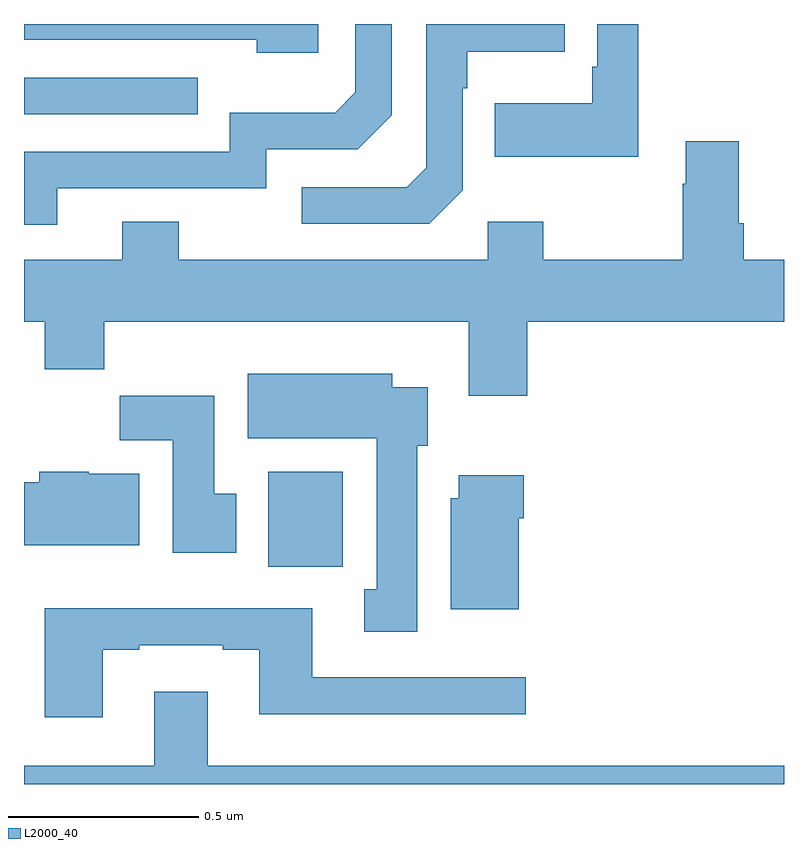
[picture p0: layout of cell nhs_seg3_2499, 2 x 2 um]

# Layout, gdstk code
import gdstk
lib = gdstk.Library(unit=1e-6, precision=1e-09)
def R(c, l, rs):  # rectangles x0, y0, x1, y1
    for r in rs: c.add(gdstk.rectangle(r[:2], r[2:], *l))
def P(c, l, *ps):  # polygons
    for p in ps: c.add(gdstk.Polygon(p, *l))
L2000_40 = (2000, 40)

nhs_seg3_2499 = lib.new_cell('nhs_seg3_2499')
R(nhs_seg3_2499, L2000_40, [(142.643,666.972,142.839,667.222), (142,668.163,142.457,668.259)])
P(nhs_seg3_2499, L2000_40, [(142.774,668.4),(142,668.4),(142,668.358),(142.613,668.358),(142.613,668.324),(142.774,668.324)],
  [(142.087,667.968),(142.638,667.968),(142.638,668.07),(142.878,668.07),(142.968,668.16),(142.968,668.4),(142.872,668.4),(142.872,668.22),(142.819,668.167),(142.542,668.167),(142.542,668.064),(142,668.064),(142,667.872),(142.087,667.872)],
  [(143.154,667.962),(143.154,668.231),(143.167,668.231),(143.167,668.327),(143.423,668.327),(143.423,668.4),(143.058,668.4),(143.058,668.022),(143.007,667.971),(142.731,667.971),(142.731,667.875),(143.067,667.875)],
  [(143.617,668.4),(143.508,668.4),(143.508,668.287),(143.496,668.287),(143.496,668.191),(143.239,668.191),(143.239,668.051),(143.617,668.051)],
  [(144,667.78),(143.894,667.78),(143.894,667.876),(143.881,667.876),(143.881,668.092),(143.741,668.092),(143.741,667.979),(143.734,667.979),(143.734,667.78),(143.367,667.78),(143.367,667.879),(143.22,667.879),(143.22,667.78),(142.407,667.78),(142.407,667.879),(142.259,667.879),(142.259,667.78),(142,667.78),(142,667.616),(142.055,667.616),(142.055,667.492),(142.211,667.492),(142.211,667.616),(143.171,667.616),(143.171,667.422),(143.324,667.422),(143.324,667.616),(144,667.616)],
  [(143.035,667.29),(143.062,667.29),(143.062,667.444),(142.969,667.444),(142.969,667.48),(142.589,667.48),(142.589,667.31),(142.928,667.31),(142.928,666.913),(142.895,666.913),(142.895,666.801),(143.035,666.801)],
  [(142.558,667.164),(142.501,667.164),(142.501,667.422),(142.252,667.422),(142.252,667.304),(142.391,667.304),(142.391,667.008),(142.558,667.008)],
  [(142.303,667.216),(142.17,667.216),(142.17,667.222),(142.04,667.222),(142.04,667.194),(142,667.194),(142,667.028),(142.303,667.028)],
  [(143.302,667.1),(143.315,667.1),(143.315,667.213),(143.144,667.213),(143.144,667.152),(143.123,667.152),(143.123,666.86),(143.302,666.86)],
  [(142.207,666.753),(142.303,666.753),(142.303,666.765),(142.523,666.765),(142.523,666.753),(142.619,666.753),(142.619,666.584),(143.32,666.584),(143.32,666.681),(142.759,666.681),(142.759,666.862),(142.055,666.862),(142.055,666.576),(142.207,666.576)],
  [(144,666.448),(142.483,666.448),(142.483,666.643),(142.343,666.643),(142.343,666.448),(142,666.448),(142,666.4),(144,666.4)])

lib.write_gds('nhs_seg3_2499.gds')
